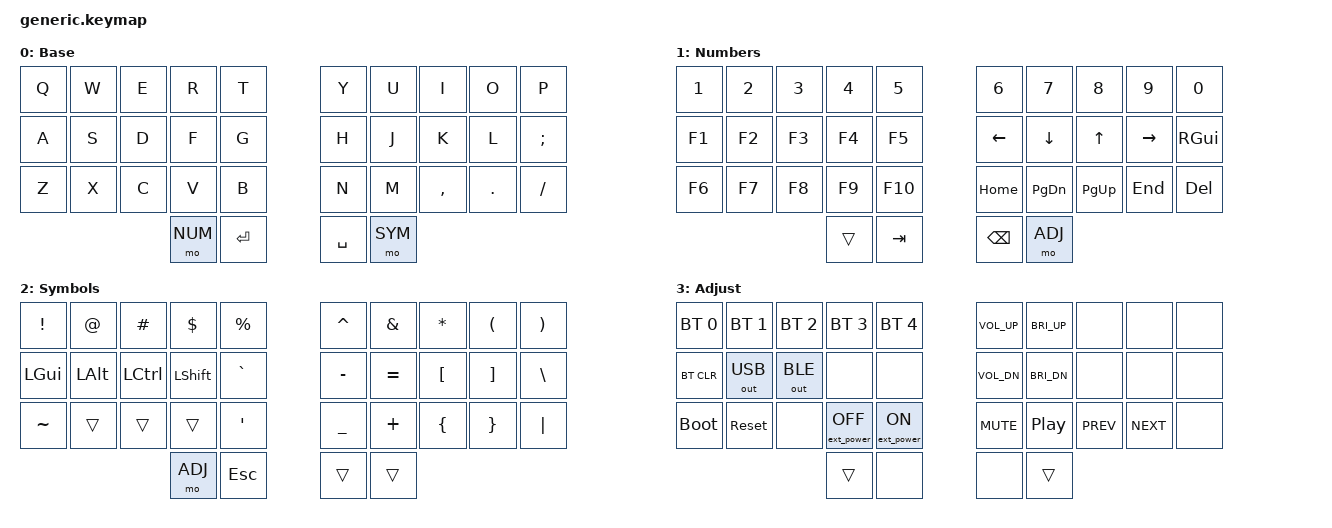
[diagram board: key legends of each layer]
/*
 * Generic Keymap for Split Ergo Keyboards
 * Designed to work across 34-48 key layouts
 * 
 * Core 30 keys (3x5 alpha) are identical across all boards
 * Outer columns and extra thumb keys adapt based on board
 */

#include <behaviors.dtsi>
#include <dt-bindings/zmk/bt.h>
#include <dt-bindings/zmk/ext_power.h>
#include <dt-bindings/zmk/keys.h>
#include <dt-bindings/zmk/outputs.h>

#define BASE 0
#define NUM  1
#define SYM  2
#define ADJ  3

/ {
    combos {
        compatible = "zmk,combos";

        combo_unlock {
            timeout-ms = <50>;
            key-positions = <0 1>;
            bindings = <&studio_unlock>;
            layers = <0>;
        };
    };

    keymap {
        compatible = "zmk,keymap";

        base_layer {
            display-name = "Base";

            /* QWERTY - Core 30 keys identical across all boards
             * ┌─────┬─────┬─────┬─────┬─────┐                    ┌─────┬─────┬─────┬─────┬─────┐
             * │  Q  │  W  │  E  │  R  │  T  │                    │  Y  │  U  │  I  │  O  │  P  │
             * ├─────┼─────┼─────┼─────┼─────┤                    ├─────┼─────┼─────┼─────┼─────┤
             * │  A  │  S  │  D  │  F  │  G  │                    │  H  │  J  │  K  │  L  │  ;  │
             * ├─────┼─────┼─────┼─────┼─────┤                    ├─────┼─────┼─────┼─────┼─────┤
             * │  Z  │  X  │  C  │  V  │  B  │                    │  N  │  M  │  ,  │  .  │  /  │
             * └─────┴─────┴─────┼─────┼─────┤                    ├─────┼─────┼─────┴─────┴─────┘
             *                   │ NUM │ SPC │                    │ ENT │ SYM │
             *                   └─────┴─────┘                    └─────┴─────┘
             */

            bindings = <
&kp Q  &kp W  &kp E  &kp R  &kp T                          &kp Y    &kp U  &kp I      &kp O    &kp P
&kp A  &kp S  &kp D  &kp F  &kp G                          &kp H    &kp J  &kp K      &kp L    &kp SEMI
&kp Z  &kp X  &kp C  &kp V  &kp B                          &kp N    &kp M  &kp COMMA  &kp DOT  &kp SLASH
                            &mo NUM  &kp RET    &kp SPACE  &mo SYM
            >;
        };

        num_layer {
            display-name = "Numbers";

            /* Numbers, F-keys, Navigation, Media
             * ┌─────┬─────┬─────┬─────┬─────┐                    ┌─────┬─────┬─────┬─────┬─────┐
             * │  1  │  2  │  3  │  4  │  5  │                    │  6  │  7  │  8  │  9  │  0  │
             * ├─────┼─────┼─────┼─────┼─────┤                    ├─────┼─────┼─────┼─────┼─────┤
             * │ F1  │ F2  │ F3  │ F4  │ F5  │                    │ LFT │ DWN │ UP  │ RGT │ GUI │
             * ├─────┼─────┼─────┼─────┼─────┤                    ├─────┼─────┼─────┼─────┼─────┤
             * │ F6  │ F7  │ F8  │ F9  │ F10 │                    │ HOM │ PGD │ PGU │ END │ DEL │
             * └─────┴─────┴─────┼─────┼─────┤                    ├─────┼─────┼─────┴─────┴─────┘
             *                   │ /// │ TAB │                    │ BSP │ ADJ │
             *                   └─────┴─────┘                    └─────┴─────┘
             */

            bindings = <
&kp N1  &kp N2  &kp N3  &kp N4  &kp N5                        &kp N6    &kp N7     &kp N8     &kp N9     &kp N0
&kp F1  &kp F2  &kp F3  &kp F4  &kp F5                        &kp LEFT  &kp DOWN   &kp UP     &kp RIGHT  &kp RGUI
&kp F6  &kp F7  &kp F8  &kp F9  &kp F10                       &kp HOME  &kp PG_DN  &kp PG_UP  &kp END    &kp DEL
                                &trans   &kp TAB    &kp BSPC  &mo ADJ
            >;
        };

        sym_layer {
            display-name = "Symbols";

            /* Symbols, Brackets, Special Characters
             * ┌─────┬─────┬─────┬─────┬─────┐                    ┌─────┬─────┬─────┬─────┬─────┐
             * │  !  │  @  │  #  │  $  │  %  │                    │  ^  │  &  │  *  │  (  │  )  │
             * ├─────┼─────┼─────┼─────┼─────┤                    ├─────┼─────┼─────┼─────┼─────┤
             * │ GUI │ ALT │ CTL │ SFT │  `  │                    │  -  │  =  │  [  │  ]  │  \  │
             * ├─────┼─────┼─────┼─────┼─────┤                    ├─────┼─────┼─────┼─────┼─────┤
             * │  ~  │     │     │     │  '  │                    │  _  │  +  │  {  │  }  │  |  │
             * └─────┴─────┴─────┼─────┼─────┤                    ├─────┼─────┼─────┴─────┴─────┘
             *                   │ ADJ │ ESC │                    │ /// │     │
             *                   └─────┴─────┘                    └─────┴─────┘
             */

            bindings = <
&kp EXCL   &kp AT    &kp HASH   &kp DLLR   &kp PRCNT                     &kp CARET  &kp AMPS   &kp ASTRK  &kp LPAR  &kp RPAR
&kp LGUI   &kp LALT  &kp LCTRL  &kp LSHFT  &kp GRAVE                     &kp MINUS  &kp EQUAL  &kp LBKT   &kp RBKT  &kp BSLH
&kp TILDE  &trans    &trans     &trans     &kp SQT                       &kp UNDER  &kp PLUS   &kp LBRC   &kp RBRC  &kp PIPE
                                           &mo ADJ    &kp ESC    &trans  &trans
            >;
        };

        adj_layer {
            display-name = "Adjust";

            /* System Controls - Bluetooth, Reset, Media
             * ┌─────┬─────┬─────┬─────┬─────┐                    ┌─────┬─────┬─────┬─────┬─────┐
             * │ BT0 │ BT1 │ BT2 │ BT3 │ BT4 │                    │ VOL+│ BRI+│     │     │     │
             * ├─────┼─────┼─────┼─────┼─────┤                    ├─────┼─────┼─────┼─────┼─────┤
             * │BTCLR│ USB │ BLE │     │     │                    │ VOL-│ BRI-│     │     │     │
             * ├─────┼─────┼─────┼─────┼─────┤                    ├─────┼─────┼─────┼─────┼─────┤
             * │BOOT │RESET│     │EP_OF│EP_ON│                    │ MUTE│ PLAY│ PRV │ NXT │     │
             * └─────┴─────┴─────┼─────┼─────┤                    ├─────┼─────┼─────┴─────┴─────┘
             *                   │ /// │     │                    │     │ /// │
             *                   └─────┴─────┘                    └─────┴─────┘
             */

            bindings = <
&bt BT_SEL 0  &bt BT_SEL 1  &bt BT_SEL 2  &bt BT_SEL 3       &bt BT_SEL 4                      &kp C_VOL_UP  &kp C_BRI_UP  &none       &none       &none
&bt BT_CLR    &out OUT_USB  &out OUT_BLE  &none              &none                             &kp C_VOL_DN  &kp C_BRI_DN  &none       &none       &none
&bootloader   &sys_reset    &none         &ext_power EP_OFF  &ext_power EP_ON                  &kp C_MUTE    &kp C_PP      &kp C_PREV  &kp C_NEXT  &none
                                                             &trans            &none    &none  &trans
            >;
        };
    };
};
